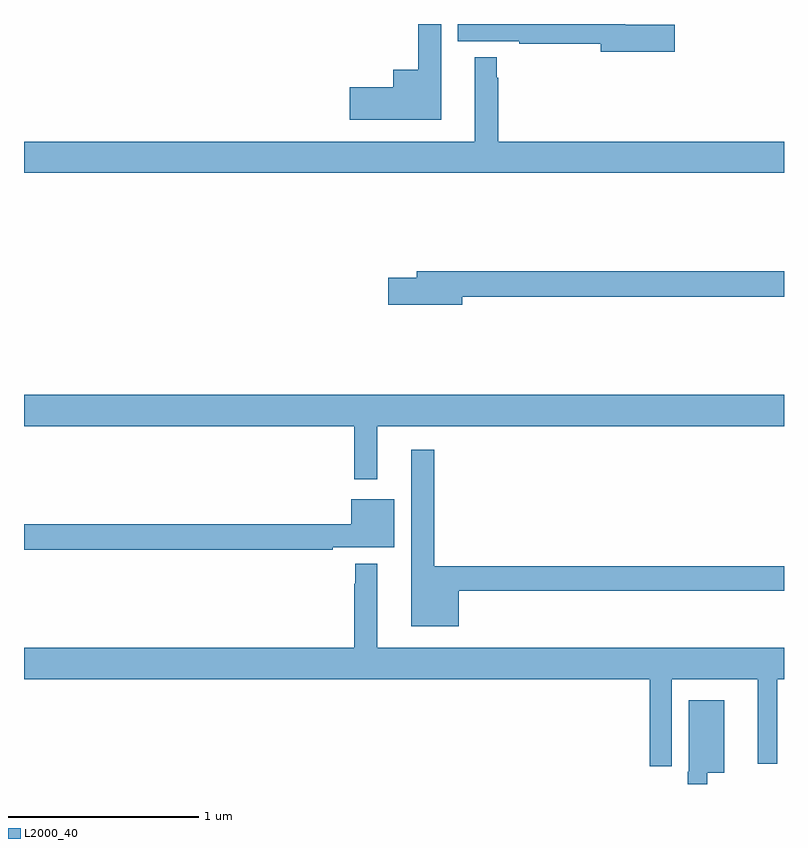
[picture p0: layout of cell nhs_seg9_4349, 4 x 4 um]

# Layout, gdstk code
import gdstk
lib = gdstk.Library(unit=1e-6, precision=1e-09)
def P(c, l, *ps):  # polygons
    for p in ps: c.add(gdstk.Polygon(p, *l))
L2000_40 = (2000, 40)

nhs_seg9_4349 = lib.new_cell('nhs_seg9_4349')
P(nhs_seg9_4349, L2000_40, [(361.195,1234.5),(361.074,1234.5),(361.074,1234.258),(360.944,1234.258),(360.944,1234.166),(360.714,1234.166),(360.714,1233.995),(361.195,1233.995)],
  [(362.425,1234.496),(362.164,1234.496),(362.164,1234.5),(361.283,1234.5),(361.283,1234.409),(361.606,1234.409),(361.606,1234.396),(362.036,1234.396),(362.036,1234.354),(362.425,1234.354)],
  [(363,1233.88),(361.495,1233.88),(361.495,1234.217),(361.488,1234.217),(361.488,1234.324),(361.373,1234.324),(361.373,1233.88),(359,1233.88),(359,1233.716),(363,1233.716)],
  [(361.306,1233.064),(363,1233.064),(363,1233.2),(361.067,1233.2),(361.067,1233.164),(360.918,1233.164),(360.918,1233.022),(361.306,1233.022)],
  [(360.859,1232.384),(363,1232.384),(363,1232.548),(359,1232.548),(359,1232.384),(360.738,1232.384),(360.738,1232.103),(360.859,1232.103)],
  [(361.288,1231.518),(363,1231.518),(363,1231.646),(361.159,1231.646),(361.159,1232.26),(361.037,1232.26),(361.037,1231.331),(361.288,1231.331)],
  [(360.626,1231.745),(360.949,1231.745),(360.949,1231.999),(360.722,1231.999),(360.722,1231.868),(359,1231.868),(359,1231.732),(360.626,1231.732)],
  [(362.293,1230.594),(362.408,1230.594),(362.408,1230.706),(362.409,1230.706),(362.409,1231.052),(362.861,1231.052),(362.861,1230.606),(362.965,1230.606),(362.965,1231.052),(363,1231.052),(363,1231.216),(360.859,1231.216),(360.859,1231.66),(360.744,1231.66),(360.744,1231.553),(360.738,1231.553),(360.738,1231.216),(359,1231.216),(359,1231.052),(362.293,1231.052)],
  [(362.595,1230.56),(362.686,1230.56),(362.686,1230.94),(362.498,1230.94),(362.498,1230.564),(362.494,1230.564),(362.494,1230.5),(362.595,1230.5)])

lib.write_gds('nhs_seg9_4349.gds')
